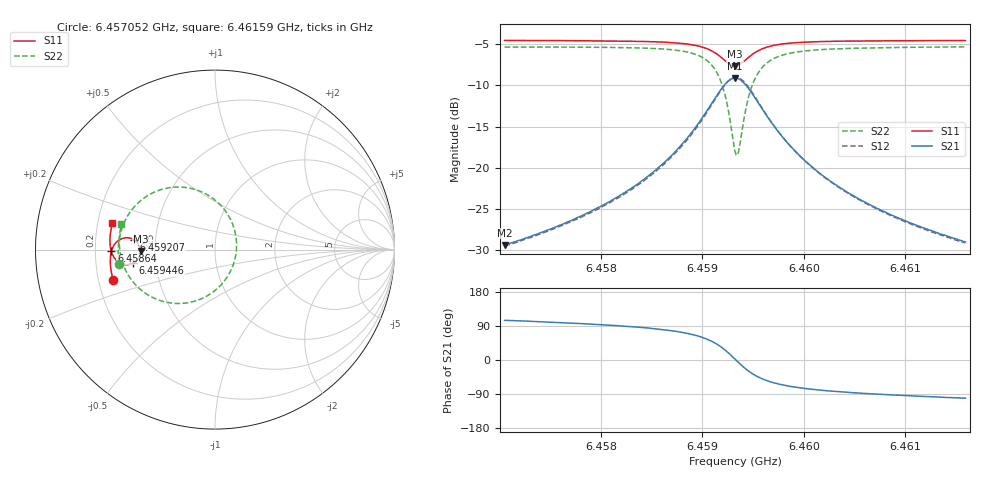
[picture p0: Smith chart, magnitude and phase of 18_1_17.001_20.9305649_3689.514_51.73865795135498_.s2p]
#  HZ  S  RI  R  50.00
! Rohde & Schwarz Vector Network Analyzer
! Rohde-Schwarz,ZNB20-2Port,1311601062101988,3.16
! Created: UTC 3/20/2024, 10:52:51 PM
! freq[Hz]  re:S11  im:S11  re:S21  im:S21  re:S12  im:S12  re:S22  im:S22
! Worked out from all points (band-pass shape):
!   401 points, 6.457052 GHz to 6.46159 GHz, reference 50 ohm
!   highest |S21| = -9.11 dB at 6.459321 GHz (marker M1); lowest = -29.3 dB at 6.457052 GHz (marker M2)
!   |S21| within 3 dB of the highest: 6.459095 GHz to 6.459549 GHz (454 kHz wide, 0.00703 % of centre)
!   lowest |S11| = -7.6 dB at 6.459321 GHz (marker M3), VSWR 2.42, Z = 20.7 - j0.406 ohm
!   |S11| at or under -10 dB: nowhere
!   |S22| runs from -18.4 to -5.3 dB; largest |S21 - S12| = 0.014
!   S11 on the Smith chart (normalised r, x): 6.457052 GHz: 0.26, -0.14; 6.45864 GHz: 0.27, -0.01; 6.459207 GHz: 0.38, +0.05; 6.459446 GHz: 0.37, -0.07; 6.46159 GHz: 0.26, +0.12
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6.4570516e9  -0.5675 -0.1679  -0.00858 0.033  -0.00687 0.0329  -0.5344 -0.0777
6.4578118e9  -0.5809 -0.1013  -0.00532 0.0511  -0.00273 0.0504  -0.5386 0.0123
6.458209e9  -0.5836 -0.0614  0.000517 0.0693  0.00361 0.0681  -0.5305 0.0751
6.4585721e9  -0.5794 -0.0179  0.0152 0.0998  0.0189 0.0969  -0.5033 0.157
6.4586401e9  -0.5771 -0.00832  0.0205 0.1084  0.0245 0.1049  -0.4931 0.1771
6.458833e9  -0.5644 0.0221  0.0474 0.1394  0.0514 0.1343  -0.4425 0.2461
6.4589805e9  -0.5414 0.0483  0.0932 0.17  0.0962 0.1631  -0.358 0.3103
6.4591167e9  -0.4971 0.0659  0.1811 0.1865  0.1817 0.1793  -0.1979 0.3487
6.4592075e9  -0.452 0.0556  0.2718 0.1551  0.2716 0.1496  -0.0301 0.2979
6.4592755e9  -0.4223 0.0233  0.3332 0.0829  0.3352 0.0781  0.0869 0.1676
6.4593209e9  -0.415 -0.00813  0.3501 0.0142  0.3539 0.00774  0.1199 0.0393
6.459355e9  -0.4189 -0.0323  0.3445 -0.039  0.3487 -0.0478  0.1089 -0.0616
6.4594004e9  -0.4343 -0.0591  0.3157 -0.1001  0.3184 -0.1118  0.0507 -0.1769
6.4594457e9  -0.4567 -0.076  0.273 -0.1421  0.2726 -0.1553  -0.036 -0.2534
6.4594911e9  -0.4799 -0.0832  0.2277 -0.165  0.2241 -0.178  -0.1268 -0.291
6.4595365e9  -0.501 -0.0833  0.1866 -0.1738  0.1806 -0.1855  -0.2081 -0.3005
6.459684e9  -0.5457 -0.063  0.0972 -0.1595  0.0886 -0.1658  -0.3784 -0.2495
6.4598429e9  -0.5676 -0.0352  0.0516 -0.1308  0.0438 -0.1338  -0.4598 -0.176
6.4600812e9  -0.5806 0.000405  0.0222 -0.0987  0.0164 -0.0993  -0.5078 -0.0924
6.4604329e9  -0.5852 0.0425  0.00569 -0.0706  0.00168 -0.0702  -0.5294 -0.0105
6.4608414e9  -0.5834 0.0837  -0.00155 -0.0524  -0.00445 -0.0517  -0.5331 0.0557
6.4615903e9  -0.5715 0.1503  -0.00663 -0.0351  -0.00839 -0.0341  -0.5215 0.1449
